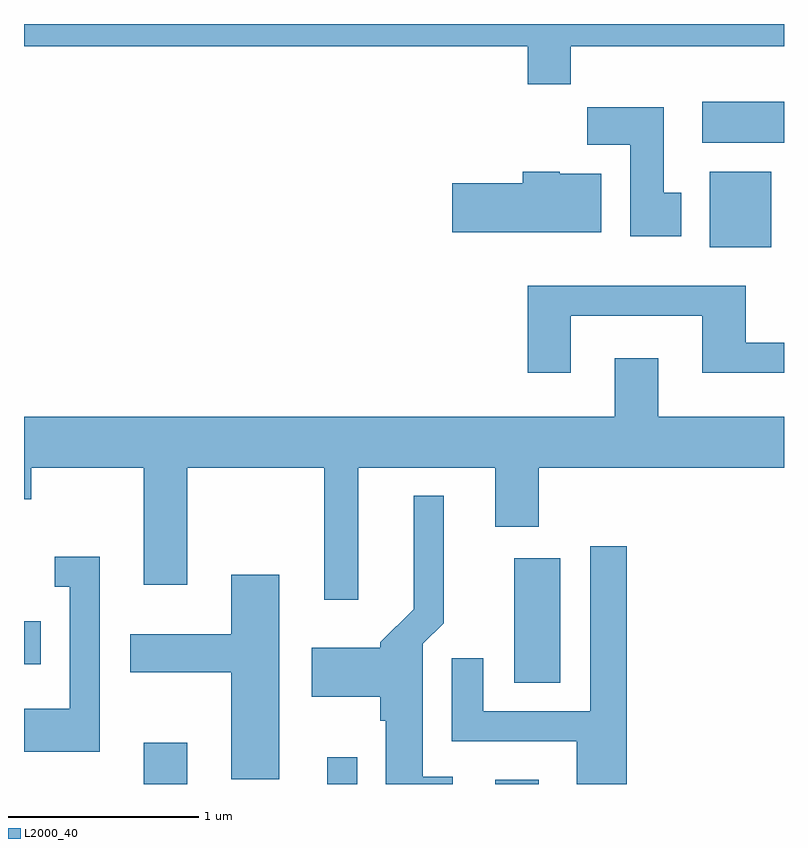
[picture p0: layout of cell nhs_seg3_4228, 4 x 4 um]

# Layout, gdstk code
import gdstk
lib = gdstk.Library(unit=1e-6, precision=1e-09)
def R(c, l, rs):  # rectangles x0, y0, x1, y1
    for r in rs: c.add(gdstk.rectangle(r[:2], r[2:], *l))
def P(c, l, *ps):  # polygons
    for p in ps: c.add(gdstk.Polygon(p, *l))
L2000_40 = (2000, 40)

nhs_seg3_4228 = lib.new_cell('nhs_seg3_4228')
R(nhs_seg3_4228, L2000_40, [(310.241,1139.892,310.469,1140.109), (311.206,1139.892,311.364,1140.033), (312.091,1139.892,312.319,1139.914), (312.191,1140.426,312.434,1141.079), (309.611,1140.521,309.699,1140.749), (313.221,1142.716,313.544,1143.114), (313.181,1143.266,313.611,1143.484)])
P(nhs_seg3_4228, L2000_40, [(312.489,1143.776),(313.611,1143.776),(313.611,1143.892),(309.611,1143.892),(309.611,1143.776),(312.261,1143.776),(312.261,1143.576),(312.489,1143.576)],
  [(313.069,1143.004),(312.979,1143.004),(312.979,1143.454),(312.576,1143.454),(312.576,1143.256),(312.801,1143.256),(312.801,1142.776),(313.069,1142.776)],
  [(312.649,1143.104),(312.43,1143.104),(312.43,1143.114),(312.236,1143.114),(312.236,1143.054),(311.866,1143.054),(311.866,1142.796),(312.649,1142.796)],
  [(312.489,1142.356),(313.181,1142.356),(313.181,1142.056),(313.611,1142.056),(313.611,1142.214),(313.409,1142.214),(313.409,1142.514),(312.261,1142.514),(312.261,1142.056),(312.489,1142.056)],
  [(311.369,1141.556),(312.091,1141.556),(312.091,1141.246),(312.319,1141.246),(312.319,1141.556),(313.611,1141.556),(313.611,1141.824),(312.949,1141.824),(312.949,1142.134),(312.721,1142.134),(312.721,1141.824),(309.611,1141.824),(309.611,1141.391),(309.649,1141.391),(309.649,1141.556),(310.241,1141.556),(310.241,1140.941),(310.469,1140.941),(310.469,1141.556),(311.191,1141.556),(311.191,1140.861),(311.369,1140.861)],
  [(311.868,1139.929),(311.709,1139.929),(311.709,1140.629),(311.819,1140.739),(311.819,1141.408),(311.661,1141.408),(311.661,1140.812),(311.486,1140.637),(311.486,1140.609),(311.126,1140.609),(311.126,1140.351),(311.486,1140.351),(311.486,1140.226),(311.516,1140.226),(311.516,1139.892),(311.868,1139.892)],
  [(312.784,1141.144),(312.591,1141.144),(312.591,1140.274),(312.029,1140.274),(312.029,1140.553),(311.861,1140.553),(311.861,1140.116),(312.521,1140.116),(312.521,1139.892),(312.784,1139.892)],
  [(310.009,1141.089),(309.773,1141.089),(309.773,1140.931),(309.851,1140.931),(309.851,1140.289),(309.611,1140.289),(309.611,1140.061),(310.009,1140.061)],
  [(310.954,1140.994),(310.701,1140.994),(310.701,1140.679),(310.171,1140.679),(310.171,1140.481),(310.701,1140.481),(310.701,1139.916),(310.954,1139.916)])

lib.write_gds('nhs_seg3_4228.gds')
